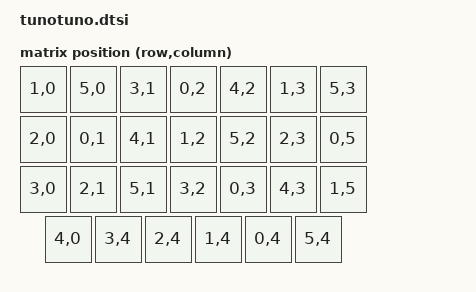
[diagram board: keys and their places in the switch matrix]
// tunotuno: charlieplex key scan (both halves).
// GPIO pins are defined per side in tunotuno_left.overlay / tunotuno_right.overlay.
//
// Charlieplex RC(row, col): row = driving pin index, col = receiving pin index
// (index into the "gpios" list of the overlay).

#include <dt-bindings/zmk/matrix_transform.h>
#include "tunotuno-layouts.dtsi"

/ {
    chosen {
        zmk,physical-layout = &default_layout;
    };

    kscan: kscan {
        compatible = "zmk,kscan-gpio-charlieplex";
        wakeup-source;
    };

    // TEMPORARY: right half only (27 keys). Left half will be added later.
    // Key order follows the original right-hand layout:
    //   row0: SW1  SW5  SW8  SW11 SW14 SW17 SW20
    //   row1: SW2  SW6  SW9  SW12 SW15 SW18 SW21
    //   row2: SW3  SW7  SW10 SW13 SW16 SW19 SW22
    //   row3: SW4  S1.5 S1.4 S1.2 S1.1 S1.3
    default_transform: default_transform {
        compatible = "zmk,matrix-transform";
        rows = <6>;
        columns = <6>;

        map = <RC(1,0) RC(5,0) RC(3,1) RC(0,2) RC(4,2) RC(1,3) RC(5,3)
               RC(2,0) RC(0,1) RC(4,1) RC(1,2) RC(5,2) RC(2,3) RC(0,5)
               RC(3,0) RC(2,1) RC(5,1) RC(3,2) RC(0,3) RC(4,3) RC(1,5)
               RC(4,0) RC(3,4) RC(2,4) RC(1,4) RC(0,4) RC(5,4)>;
    };
};
